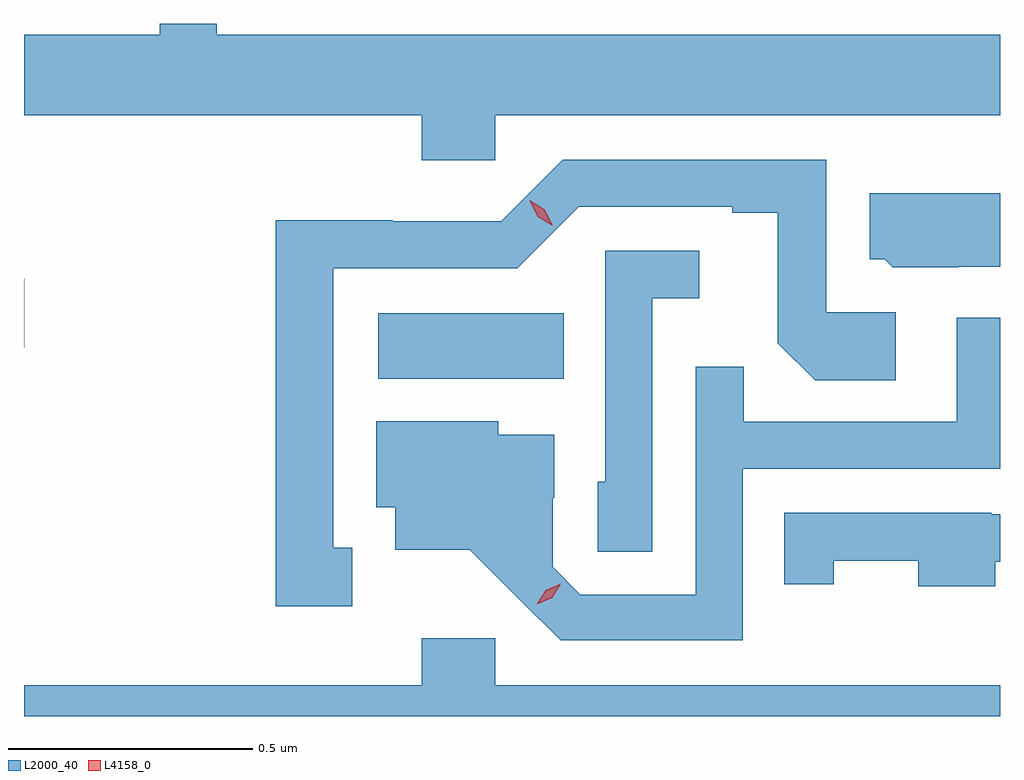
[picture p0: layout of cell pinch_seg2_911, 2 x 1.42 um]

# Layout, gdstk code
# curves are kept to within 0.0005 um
import gdstk
lib = gdstk.Library(unit=1e-6, precision=1e-09)
def R(c, l, rs):  # rectangles x0, y0, x1, y1
    for r in rs: c.add(gdstk.rectangle(r[:2], r[2:], *l))
def P(c, l, *ps):  # polygons
    for p in ps: c.add(gdstk.Polygon(p, *l))
L2000_40 = (2000, 40)
L4158_0 = (4158, 0)

pinch_seg2_911 = lib.new_cell('pinch_seg2_911')
R(pinch_seg2_911, L2000_40, [(382.464,584.492,382.844,584.626), (381.738,584.555,381.739,584.697)])
P(pinch_seg2_911, L2000_40, [(382.704,585.032),(383.738,585.032),(383.738,585.196),(382.133,585.196),(382.133,585.219),(382.016,585.219),(382.016,585.196),(381.738,585.196),(381.738,585.032),(382.553,585.032),(382.553,584.939),(382.704,584.939)],
  [(382.411,584.145),(382.372,584.145),(382.372,584.718),(382.749,584.718),(382.875,584.844),(383.189,584.844),(383.189,584.832),(383.283,584.832),(383.283,584.564),(383.359,584.488),(383.524,584.488),(383.524,584.628),(383.382,584.628),(383.382,584.94),(382.842,584.94),(382.716,584.814),(382.494,584.814),(382.494,584.816),(382.254,584.816),(382.254,584.025),(382.411,584.025)],
  [(383.652,584.721),(383.738,584.721),(383.738,584.872),(383.471,584.872),(383.471,584.736),(383.502,584.736),(383.518,584.72),(383.652,584.72)],
  [(383.025,584.657),(383.122,584.657),(383.122,584.754),(382.929,584.754),(382.929,584.28),(382.914,584.28),(382.914,584.137),(383.025,584.137)],
  [(383.211,584.307),(383.738,584.307),(383.738,584.617),(383.649,584.617),(383.649,584.403),(383.213,584.403),(383.213,584.516),(383.115,584.516),(383.115,584.049),(382.878,584.049),(382.821,584.106),(382.821,584.248),(382.825,584.248),(382.825,584.377),(382.71,584.377),(382.71,584.404),(382.46,584.404),(382.46,584.228),(382.499,584.228),(382.499,584.141),(382.651,584.141),(382.838,583.956),(383.211,583.956)],
  [(383.728,584.117),(383.738,584.117),(383.738,584.214),(383.72,584.214),(383.72,584.217),(383.296,584.217),(383.296,584.07),(383.397,584.07),(383.397,584.119),(383.57,584.119),(383.57,584.066),(383.728,584.066)],
  [(383.738,583.864),(382.704,583.864),(382.704,583.96),(382.553,583.96),(382.553,583.864),(381.738,583.864),(381.738,583.8),(383.738,583.8)])
P(pinch_seg2_911, L4158_0, [(382.789,584.029),(382.789,584.029),(382.807,584.058),(382.838,584.072),(382.838,584.072),(382.838,584.072),(382.82,584.043),(382.789,584.029)],
  [(382.822,584.805),(382.791,584.824),(382.774,584.857),(382.774,584.857),(382.774,584.857),(382.805,584.838),(382.822,584.805),(382.822,584.805)])

lib.write_gds('pinch_seg2_911.gds')
